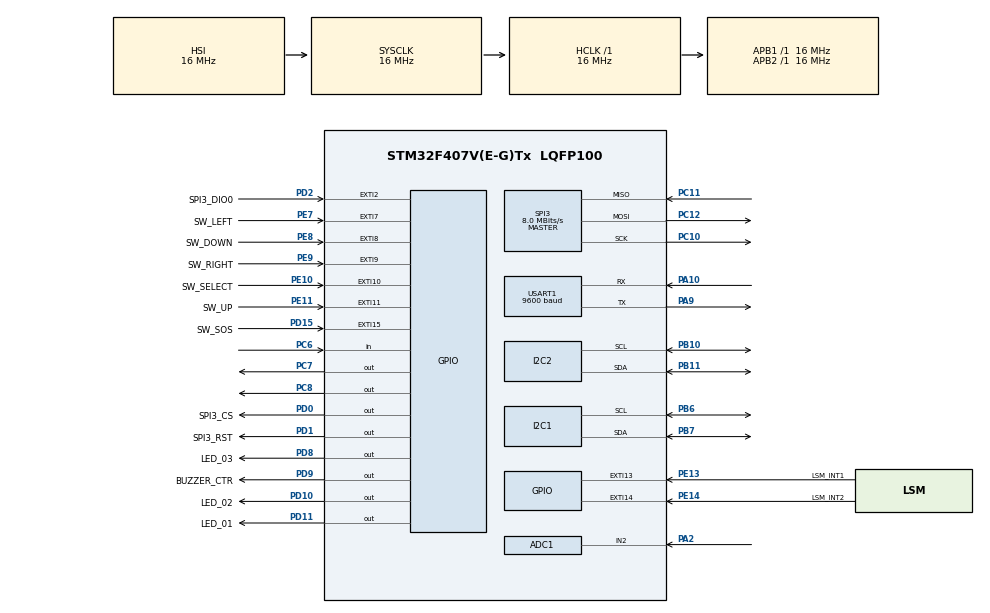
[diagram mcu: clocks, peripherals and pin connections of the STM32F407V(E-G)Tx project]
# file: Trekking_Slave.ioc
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ADC1.Channel-0\#ChannelRegularConversion=ADC_CHANNEL_2
ADC1.NbrOfConversionFlag=1
ADC1.Rank-0\#ChannelRegularConversion=1
ADC1.SamplingTime-0\#ChannelRegularConversion=ADC_SAMPLETIME_3CYCLES
ADC1.master=1
I2C1.I2C_Mode=I2C_Fast
I2C2.I2C_Mode=I2C_Standard
Mcu.Family=STM32F4
Mcu.Name=STM32F407V(E-G)Tx
Mcu.Package=LQFP100
NVIC.ADC_IRQn=true\:1\:0\:true\:false\:true\:true\:true\:true
NVIC.EXTI15_10_IRQn=true\:1\:0\:true\:false\:true\:true\:true\:true
NVIC.EXTI2_IRQn=true\:1\:0\:true\:false\:true\:true\:true\:true
NVIC.EXTI9_5_IRQn=true\:1\:0\:true\:false\:true\:true\:true\:true
NVIC.PriorityGroup=NVIC_PRIORITYGROUP_4
NVIC.RCC_IRQn=true\:1\:0\:true\:false\:true\:true\:false\:true
NVIC.TIM1_UP_TIM10_IRQn=true\:0\:0\:false\:false\:true\:true\:true\:true
NVIC.USART1_IRQn=true\:1\:0\:true\:false\:true\:true\:true\:true
PA10.Mode=Asynchronous
PA10.Signal=USART1_RX
PA13.Mode=Serial_Wire
PA13.Signal=SYS_JTMS-SWDIO
PA14.Mode=Serial_Wire
PA14.Signal=SYS_JTCK-SWCLK
PA2.Signal=ADCx_IN2
PA9.Mode=Asynchronous
PA9.Signal=USART1_TX
PB10.Mode=I2C
PB10.Signal=I2C2_SCL
PB11.Mode=I2C
PB11.Signal=I2C2_SDA
PB6.Mode=I2C
PB6.Signal=I2C1_SCL
PB7.Mode=I2C
PB7.Signal=I2C1_SDA
PC10.Mode=Full_Duplex_Master
PC10.Signal=SPI3_SCK
PC11.Mode=Full_Duplex_Master
PC11.Signal=SPI3_MISO
PC12.Mode=Full_Duplex_Master
PC12.Signal=SPI3_MOSI
PC6.Signal=GPIO_Input
PC7.PinState=GPIO_PIN_SET
PC7.Signal=GPIO_Output
PC8.PinState=GPIO_PIN_SET
PC8.Signal=GPIO_Output
PD0.GPIO_Label=SPI3_CS
PD0.PinState=GPIO_PIN_SET
PD0.Signal=GPIO_Output
PD1.GPIO_Label=SPI3_RST
PD1.PinState=GPIO_PIN_SET
PD1.Signal=GPIO_Output
PD10.GPIO_Label=LED_02
PD10.GPIO_PuPd=GPIO_PULLUP
PD10.Signal=GPIO_Output
PD11.GPIO_Label=LED_01
PD11.GPIO_PuPd=GPIO_PULLUP
PD11.Signal=GPIO_Output
PD15.GPIO_Label=SW_SOS
PD15.Signal=GPXTI15
PD2.GPIO_Label=SPI3_DIO0
PD2.GPIO_ModeDefaultEXTI=GPIO_MODE_IT_FALLING
PD2.Signal=GPXTI2
PD8.GPIO_Label=LED_03
PD8.GPIO_PuPd=GPIO_PULLUP
PD8.Signal=GPIO_Output
PD9.GPIO_Label=BUZZER_CTR
PD9.Signal=GPIO_Output
PE10.GPIO_Label=SW_SELECT
PE10.GPIO_ModeDefaultEXTI=GPIO_MODE_IT_FALLING
PE10.Signal=GPXTI10
PE11.GPIO_Label=SW_UP
PE11.GPIO_ModeDefaultEXTI=GPIO_MODE_IT_FALLING
PE11.Signal=GPXTI11
PE13.GPIO_Label=LSM_INT1
PE13.GPIO_ModeDefaultEXTI=GPIO_MODE_IT_FALLING
PE13.Signal=GPXTI13
PE14.GPIO_Label=LSM_INT2
PE14.GPIO_ModeDefaultEXTI=GPIO_MODE_IT_FALLING
PE14.Signal=GPXTI14
PE7.GPIO_Label=SW_LEFT
PE7.GPIO_ModeDefaultEXTI=GPIO_MODE_IT_FALLING
PE7.Signal=GPXTI7
PE8.GPIO_Label=SW_DOWN
PE8.GPIO_ModeDefaultEXTI=GPIO_MODE_IT_FALLING
PE8.Signal=GPXTI8
PE9.GPIO_Label=SW_RIGHT
PE9.GPIO_ModeDefaultEXTI=GPIO_MODE_IT_FALLING
PE9.Signal=GPXTI9
PH0-OSC_IN.Mode=HSE-External-Oscillator
PH0-OSC_IN.Signal=RCC_OSC_IN
PH1-OSC_OUT.Mode=HSE-External-Oscillator
PH1-OSC_OUT.Signal=RCC_OSC_OUT
ProjectManager.HeapSize=0x200
ProjectManager.StackSize=0x400
ProjectManager.TargetToolchain=STM32CubeIDE
RCC.AHBFreq_Value=16000000
RCC.APB1Freq_Value=16000000
RCC.APB1TimFreq_Value=16000000
RCC.APB2Freq_Value=16000000
RCC.APB2TimFreq_Value=16000000
RCC.CortexFreq_Value=16000000
RCC.HCLKFreq_Value=16000000
RCC.HSE_VALUE=8000000
RCC.HSI_VALUE=16000000
RCC.LSE_VALUE=32768
RCC.SYSCLKFreq_VALUE=16000000
RCC.VCOOutputFreq_Value=192000000
SH.ADCx_IN2.0=ADC1_IN2,IN2
SPI3.CalculateBaudRate=8.0 MBits/s
SPI3.Direction=SPI_DIRECTION_2LINES
SPI3.Mode=SPI_MODE_MASTER
SPI3.VirtualType=VM_MASTER
TIM1.Period=2666
USART1.BaudRate=9600
USART1.VirtualMode=VM_ASYNC
VP_TIM1_VS_ClockSourceINT.Mode=Internal
board=custom

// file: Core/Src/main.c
/* USER CODE BEGIN Header */
/**
  ******************************************************************************
  * @file           : main.c
  * @brief          : Main program body
  ******************************************************************************
  * @attention
  *
  * Copyright (c) 2026 STMicroelectronics.
  * All rights reserved.
  *
  * This software is licensed under terms that can be found in the LICENSE file
  * in the root directory of this software component.
  * If no LICENSE file comes with this software, it is provided AS-IS.
  *
  ******************************************************************************
  */
/* USER CODE END Header */
#include "main.h"

/* USER CODE BEGIN Includes */
#include "stdio.h"
#include "fonts.h"
#include "SH1106.h"
#include "DS3231.h"
#include "lsm303dlhc.h"
#include "BME280.h"
#include "math.h"
#include "Application.h"
#include "bitmap.h"
#include "UI.h"
#include "slave_lora.h"
#include "../Function/Function_Help.h"
#include "../Function/Function_Gather.h"
/* USER CODE END Includes */

ADC_HandleTypeDef hadc1;

I2C_HandleTypeDef hi2c1;
I2C_HandleTypeDef hi2c2;

SPI_HandleTypeDef hspi3;

TIM_HandleTypeDef htim1;

UART_HandleTypeDef huart1;

void SystemClock_Config(void);
static void MX_GPIO_Init(void);
static void MX_I2C1_Init(void);
static void MX_I2C2_Init(void);
static void MX_USART1_UART_Init(void);
static void MX_TIM1_Init(void);
static void MX_ADC1_Init(void);
static void MX_SPI3_Init(void);
/* USER CODE BEGIN PFP */
void Sensor_Init(void);
/* USER CODE END PFP */

int main(void)
{

  /* MCU Configuration--------------------------------------------------------*/

  /* Reset of all peripherals, Initializes the Flash interface and the Systick. */
  HAL_Init();

  /* Configure the system clock */
  SystemClock_Config();

  /* Initialize all configured peripherals */
  MX_GPIO_Init();
  MX_I2C1_Init();
  MX_I2C2_Init();
  MX_USART1_UART_Init();
  MX_TIM1_Init();
  MX_ADC1_Init();
  MX_SPI3_Init();
  /* USER CODE BEGIN 2 */
  App_Trekking_Init();
  Slave_Lora_Init(&hspi3, SPI3_CS_GPIO_Port, SPI3_CS_Pin, SPI3_RST_GPIO_Port, SPI3_RST_Pin, SPI3_DIO0_GPIO_Port, SPI3_DIO0_Pin);

  SH1106_Clear();
//  DS3231_SetHour(22);
//  DS3231_SetMinute(48);
//	DS3231_SetDayOfWeek(6);
//	DS3231_SetDate(16);
//	DS3231_SetMonth(5);
//	DS3231_SetYear(2026);

  /* USER CODE END 2 */

  /* Infinite loop */
  while (1)
  {

    /* USER CODE BEGIN 3 */
//	  App_Weather();

//	  App_Compass();
      if (Function_Help_Is_Active())
      {
          Function_Help_Draw();
      }
      else if (Function_Gather_Is_Active())
      {
          Function_Gather_Draw();
      }
      else
	  switch(UI_state)
	  {
	  case Main_Screen:
		  App_CurrentTime();
		  Update_Main_Screen();
		  break;
	  case Menu_Screen_Compass:
		  if(UI_state_old != UI_state)
		  {
			  Menu_Compass_UI();
			  UI_state_old = UI_state;
		  }
		  break;
	  case Menu_Screen_Settings:
		  if(UI_state_old != UI_state)
		  {
			  Menu_Settings_UI();
			  UI_state_old = UI_state;
		  }
		  break;
	  case Menu_Screen_GPS:
		  if(UI_state_old != UI_state)
		  {
			  Menu_GPS_UI();
			  UI_state_old = UI_state;
		  }
		  break;
	  case Digital_Compass_Screen:
		  Compass_UI();
		  break;
	  case Digital_Compass_Calib_Screen:
		  Calib_Compass();
		  break;
	  case GPS_Screen:
		  App_GPS();
		  break;
	  case SOS_Screen:
		  if(UI_state_old != UI_state)
		  {
			  SOS_UI();
			  UI_state_old = UI_state;
			  HAL_TIM_Base_Start_IT(&htim1);
		  }

	  default:
		  UI_state_old = UI_state;
		  break;
	  }

//	  HAL_Delay(500);
	  App_Weather();
	  GPS_Process_Loop();
	  tx_lora_frame.batt = (uint8_t)battery_percent;
	  tx_lora_frame.sensor.humi = (uint8_t)BME280.Humidity;
	  tx_lora_frame.sensor.temp = (uint8_t)BME280.Temperature;
	  tx_lora_frame.gps.lat = current_gps.latitude;
	  tx_lora_frame.gps.lng = current_gps.longitude;
	  Slave_Lora_Loop();
	  HAL_ADC_Start_IT(&hadc1);
  }
  /* USER CODE END 3 */
}

void SystemClock_Config(void)
{
  RCC_OscInitTypeDef RCC_OscInitStruct = {0};
  RCC_ClkInitTypeDef RCC_ClkInitStruct = {0};

  /** Configure the main internal regulator output voltage
  */
  __HAL_RCC_PWR_CLK_ENABLE();
  __HAL_PWR_VOLTAGESCALING_CONFIG(PWR_REGULATOR_VOLTAGE_SCALE1);

  /** Initializes the RCC Oscillators according to the specified parameters
  * in the RCC_OscInitTypeDef structure.
  */
  RCC_OscInitStruct.OscillatorType = RCC_OSCILLATORTYPE_HSI;
  RCC_OscInitStruct.HSIState = RCC_HSI_ON;
  RCC_OscInitStruct.HSICalibrationValue = RCC_HSICALIBRATION_DEFAULT;
  RCC_OscInitStruct.PLL.PLLState = RCC_PLL_NONE;
  if (HAL_RCC_OscConfig(&RCC_OscInitStruct) != HAL_OK)
  {
    Error_Handler();
  }

  /** Initializes the CPU, AHB and APB buses clocks
  */
  RCC_ClkInitStruct.ClockType = RCC_CLOCKTYPE_HCLK|RCC_CLOCKTYPE_SYSCLK
                              |RCC_CLOCKTYPE_PCLK1|RCC_CLOCKTYPE_PCLK2;
  RCC_ClkInitStruct.SYSCLKSource = RCC_SYSCLKSOURCE_HSI;
  RCC_ClkInitStruct.AHBCLKDivider = RCC_SYSCLK_DIV1;
  RCC_ClkInitStruct.APB1CLKDivider = RCC_HCLK_DIV1;
  RCC_ClkInitStruct.APB2CLKDivider = RCC_HCLK_DIV1;

  if (HAL_RCC_ClockConfig(&RCC_ClkInitStruct, FLASH_LATENCY_0) != HAL_OK)
  {
    Error_Handler();
  }
}

static void MX_ADC1_Init(void)
{

  ADC_ChannelConfTypeDef sConfig = {0};

  /** Configure the global features of the ADC (Clock, Resolution, Data Alignment and number of conversion)
  */
  hadc1.Instance = ADC1;
  hadc1.Init.ClockPrescaler = ADC_CLOCK_SYNC_PCLK_DIV2;
  hadc1.Init.Resolution = ADC_RESOLUTION_12B;
  hadc1.Init.ScanConvMode = DISABLE;
  hadc1.Init.ContinuousConvMode = DISABLE;
  hadc1.Init.DiscontinuousConvMode = DISABLE;
  hadc1.Init.ExternalTrigConvEdge = ADC_EXTERNALTRIGCONVEDGE_NONE;
  hadc1.Init.ExternalTrigConv = ADC_SOFTWARE_START;
  hadc1.Init.DataAlign = ADC_DATAALIGN_RIGHT;
  hadc1.Init.NbrOfConversion = 1;
  hadc1.Init.DMAContinuousRequests = DISABLE;
  hadc1.Init.EOCSelection = ADC_EOC_SINGLE_CONV;
  if (HAL_ADC_Init(&hadc1) != HAL_OK)
  {
    Error_Handler();
  }

  /** Configure for the selected ADC regular channel its corresponding rank in the sequencer and its sample time.
  */
  sConfig.Channel = ADC_CHANNEL_2;
  sConfig.Rank = 1;
  sConfig.SamplingTime = ADC_SAMPLETIME_3CYCLES;
  if (HAL_ADC_ConfigChannel(&hadc1, &sConfig) != HAL_OK)
  {
    Error_Handler();
  }

}

static void MX_I2C1_Init(void)
{

  hi2c1.Instance = I2C1;
  hi2c1.Init.ClockSpeed = 400000;
  hi2c1.Init.DutyCycle = I2C_DUTYCYCLE_2;
  hi2c1.Init.OwnAddress1 = 0;
  hi2c1.Init.AddressingMode = I2C_ADDRESSINGMODE_7BIT;
  hi2c1.Init.DualAddressMode = I2C_DUALADDRESS_DISABLE;
  hi2c1.Init.OwnAddress2 = 0;
  hi2c1.Init.GeneralCallMode = I2C_GENERALCALL_DISABLE;
  hi2c1.Init.NoStretchMode = I2C_NOSTRETCH_DISABLE;
  if (HAL_I2C_Init(&hi2c1) != HAL_OK)
  {
    Error_Handler();
  }

}

static void MX_I2C2_Init(void)
{

  hi2c2.Instance = I2C2;
  hi2c2.Init.ClockSpeed = 100000;
  hi2c2.Init.DutyCycle = I2C_DUTYCYCLE_2;
  hi2c2.Init.OwnAddress1 = 0;
  hi2c2.Init.AddressingMode = I2C_ADDRESSINGMODE_7BIT;
  hi2c2.Init.DualAddressMode = I2C_DUALADDRESS_DISABLE;
  hi2c2.Init.OwnAddress2 = 0;
  hi2c2.Init.GeneralCallMode = I2C_GENERALCALL_DISABLE;
  hi2c2.Init.NoStretchMode = I2C_NOSTRETCH_DISABLE;
  if (HAL_I2C_Init(&hi2c2) != HAL_OK)
  {
    Error_Handler();
  }

}

static void MX_SPI3_Init(void)
{

  /* SPI3 parameter configuration*/
  hspi3.Instance = SPI3;
  hspi3.Init.Mode = SPI_MODE_MASTER;
  hspi3.Init.Direction = SPI_DIRECTION_2LINES;
  hspi3.Init.DataSize = SPI_DATASIZE_8BIT;
  hspi3.Init.CLKPolarity = SPI_POLARITY_LOW;
  hspi3.Init.CLKPhase = SPI_PHASE_1EDGE;
  hspi3.Init.NSS = SPI_NSS_SOFT;
  hspi3.Init.BaudRatePrescaler = SPI_BAUDRATEPRESCALER_2;
  hspi3.Init.FirstBit = SPI_FIRSTBIT_MSB;
  hspi3.Init.TIMode = SPI_TIMODE_DISABLE;
  hspi3.Init.CRCCalculation = SPI_CRCCALCULATION_DISABLE;
  hspi3.Init.CRCPolynomial = 10;
  if (HAL_SPI_Init(&hspi3) != HAL_OK)
  {
    Error_Handler();
  }

}

static void MX_TIM1_Init(void)
{

  TIM_ClockConfigTypeDef sClockSourceConfig = {0};
  TIM_MasterConfigTypeDef sMasterConfig = {0};

  htim1.Instance = TIM1;
  htim1.Init.Prescaler = 0;
  htim1.Init.CounterMode = TIM_COUNTERMODE_UP;
  htim1.Init.Period = 2666;
  htim1.Init.ClockDivision = TIM_CLOCKDIVISION_DIV1;
  htim1.Init.RepetitionCounter = 0;
  htim1.Init.AutoReloadPreload = TIM_AUTORELOAD_PRELOAD_DISABLE;
  if (HAL_TIM_Base_Init(&htim1) != HAL_OK)
  {
    Error_Handler();
  }
  sClockSourceConfig.ClockSource = TIM_CLOCKSOURCE_INTERNAL;
  if (HAL_TIM_ConfigClockSource(&htim1, &sClockSourceConfig) != HAL_OK)
  {
    Error_Handler();
  }
  sMasterConfig.MasterOutputTrigger = TIM_TRGO_RESET;
  sMasterConfig.MasterSlaveMode = TIM_MASTERSLAVEMODE_DISABLE;
  if (HAL_TIMEx_MasterConfigSynchronization(&htim1, &sMasterConfig) != HAL_OK)
  {
    Error_Handler();
  }

}

static void MX_USART1_UART_Init(void)
{

  huart1.Instance = USART1;
  huart1.Init.BaudRate = 9600;
  huart1.Init.WordLength = UART_WORDLENGTH_8B;
  huart1.Init.StopBits = UART_STOPBITS_1;
  huart1.Init.Parity = UART_PARITY_NONE;
  huart1.Init.Mode = UART_MODE_TX_RX;
  huart1.Init.HwFlowCtl = UART_HWCONTROL_NONE;
  huart1.Init.OverSampling = UART_OVERSAMPLING_16;
  if (HAL_UART_Init(&huart1) != HAL_OK)
  {
    Error_Handler();
  }

}

static void MX_GPIO_Init(void)
{
  GPIO_InitTypeDef GPIO_InitStruct = {0};

  /* GPIO Ports Clock Enable */
  __HAL_RCC_GPIOH_CLK_ENABLE();
  __HAL_RCC_GPIOA_CLK_ENABLE();
  __HAL_RCC_GPIOE_CLK_ENABLE();
  __HAL_RCC_GPIOB_CLK_ENABLE();
  __HAL_RCC_GPIOD_CLK_ENABLE();
  __HAL_RCC_GPIOC_CLK_ENABLE();

  /*Configure GPIO pin Output Level */
  HAL_GPIO_WritePin(GPIOD, LED_03_Pin|BUZZER_CTR_Pin|LED_02_Pin|LED_01_Pin, GPIO_PIN_RESET);

  /*Configure GPIO pin Output Level */
  HAL_GPIO_WritePin(GPIOC, GPIO_PIN_7|GPIO_PIN_8, GPIO_PIN_SET);

  /*Configure GPIO pin Output Level */
  HAL_GPIO_WritePin(GPIOD, SPI3_CS_Pin|SPI3_RST_Pin, GPIO_PIN_SET);

  /*Configure GPIO pins : SW_LEFT_Pin SW_DOWN_Pin SW_RIGHT_Pin SW_SELECT_Pin
                           SW_UP_Pin LSM_INT1_Pin LSM_INT2_Pin */
  GPIO_InitStruct.Pin = SW_LEFT_Pin|SW_DOWN_Pin|SW_RIGHT_Pin|SW_SELECT_Pin
                          |SW_UP_Pin|LSM_INT1_Pin|LSM_INT2_Pin;
  GPIO_InitStruct.Mode = GPIO_MODE_IT_FALLING;
  GPIO_InitStruct.Pull = GPIO_NOPULL;
  HAL_GPIO_Init(GPIOE, &GPIO_InitStruct);

  /*Configure GPIO pins : LED_03_Pin LED_02_Pin LED_01_Pin */
  GPIO_InitStruct.Pin = LED_03_Pin|LED_02_Pin|LED_01_Pin;
  GPIO_InitStruct.Mode = GPIO_MODE_OUTPUT_PP;
  GPIO_InitStruct.Pull = GPIO_PULLUP;
  GPIO_InitStruct.Speed = GPIO_SPEED_FREQ_LOW;
  HAL_GPIO_Init(GPIOD, &GPIO_InitStruct);

  /*Configure GPIO pins : BUZZER_CTR_Pin SPI3_CS_Pin SPI3_RST_Pin */
  GPIO_InitStruct.Pin = BUZZER_CTR_Pin|SPI3_CS_Pin|SPI3_RST_Pin;
  GPIO_InitStruct.Mode = GPIO_MODE_OUTPUT_PP;
  GPIO_InitStruct.Pull = GPIO_NOPULL;
  GPIO_InitStruct.Speed = GPIO_SPEED_FREQ_LOW;
  HAL_GPIO_Init(GPIOD, &GPIO_InitStruct);

  /*Configure GPIO pin : SW_SOS_Pin */
  GPIO_InitStruct.Pin = SW_SOS_Pin;
  GPIO_InitStruct.Mode = GPIO_MODE_IT_RISING;
  GPIO_InitStruct.Pull = GPIO_NOPULL;
  HAL_GPIO_Init(SW_SOS_GPIO_Port, &GPIO_InitStruct);

  /*Configure GPIO pin : PC6 */
  GPIO_InitStruct.Pin = GPIO_PIN_6;
  GPIO_InitStruct.Mode = GPIO_MODE_INPUT;
  GPIO_InitStruct.Pull = GPIO_NOPULL;
  HAL_GPIO_Init(GPIOC, &GPIO_InitStruct);

  /*Configure GPIO pins : PC7 PC8 */
  GPIO_InitStruct.Pin = GPIO_PIN_7|GPIO_PIN_8;
  GPIO_InitStruct.Mode = GPIO_MODE_OUTPUT_PP;
  GPIO_InitStruct.Pull = GPIO_NOPULL;
  GPIO_InitStruct.Speed = GPIO_SPEED_FREQ_LOW;
  HAL_GPIO_Init(GPIOC, &GPIO_InitStruct);

  /*Configure GPIO pin : SPI3_DIO0_Pin */
  GPIO_InitStruct.Pin = SPI3_DIO0_Pin;
  GPIO_InitStruct.Mode = GPIO_MODE_IT_FALLING;
  GPIO_InitStruct.Pull = GPIO_NOPULL;
  HAL_GPIO_Init(SPI3_DIO0_GPIO_Port, &GPIO_InitStruct);

  /* EXTI interrupt init*/
  HAL_NVIC_SetPriority(EXTI2_IRQn, 1, 0);
  HAL_NVIC_EnableIRQ(EXTI2_IRQn);

  HAL_NVIC_SetPriority(EXTI9_5_IRQn, 1, 0);
  HAL_NVIC_EnableIRQ(EXTI9_5_IRQn);

  HAL_NVIC_SetPriority(EXTI15_10_IRQn, 1, 0);
  HAL_NVIC_EnableIRQ(EXTI15_10_IRQn);

}

/* USER CODE BEGIN 4 */
void HAL_TIM_PeriodElapsedCallback(TIM_HandleTypeDef *htim)
{
    if(htim->Instance == TIM1)
    {
    	if(tx_lora_frame.cmd_lora == CMD_LORA_SOS)
    	{
    		HAL_GPIO_TogglePin(BUZZER_CTR_GPIO_Port, BUZZER_CTR_Pin);
    	}
    	else
    	{
    		HAL_GPIO_WritePin(BUZZER_CTR_GPIO_Port, BUZZER_CTR_Pin, 0);
    	}
    }
}

uint16_t u16_ADCVal;
float Voltage;
void HAL_ADC_ConvCpltCallback(ADC_HandleTypeDef *hadc)
{
	if(hadc->Instance == ADC1)
	{
		u16_ADCVal = HAL_ADC_GetValue(&hadc1);
		Voltage = (float)u16_ADCVal/4095*3.3*2;
	}

}
/* USER CODE END 4 */

void Error_Handler(void)
{
  __disable_irq();
  while (1)
  {
  }
}
